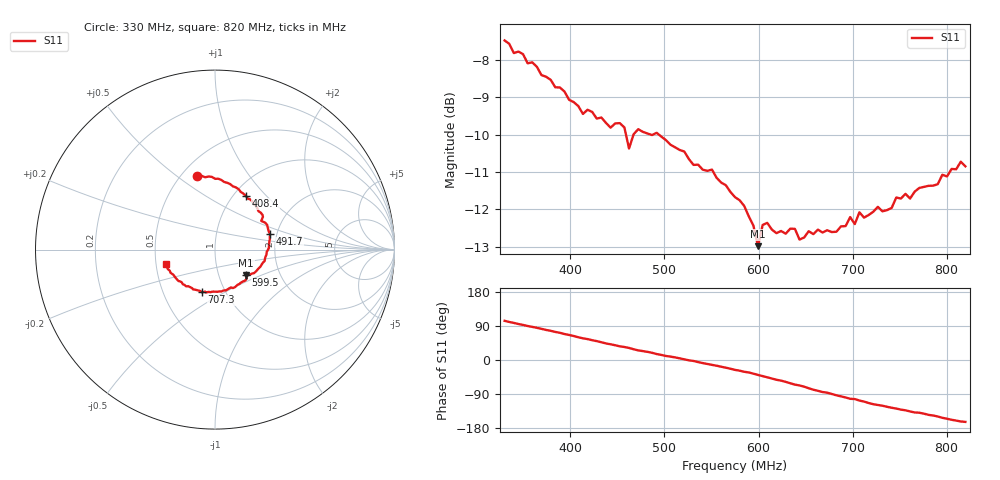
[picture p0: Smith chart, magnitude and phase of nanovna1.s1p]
# Hz S RI R 50
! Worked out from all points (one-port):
!   101 points, 330 MHz to 820 MHz, reference 50 ohm
!   lowest |S11| = -13.0 dB at 599.5 MHz (marker M1), VSWR 1.58, Z = 67.5 - j20.2 ohm
!   |S11| at or under -10 dB: 459.1 MHz to 467 MHz (7.912 MHz wide, 1.71 % of centre); 485.9012 MHz to 487.4266 MHz (1.525 MHz wide, 0.313 % of centre); 494.2 MHz to end of sweep
!   S11 on the Smith chart (normalised r, x): 330 MHz: 0.60, +0.60; 408.4 MHz: 1.14, +0.77; 491.7 MHz: 1.84, +0.35; 599.5 MHz: 1.35, -0.40; 707.3 MHz: 0.78, -0.39; 820 MHz: 0.56, -0.10
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3.3e8  -0.0981 0.4115
3.594e8  0.0178 0.395
3.937e8  0.1323 0.3361
4.084e8  0.1729 0.299
4.427e8  0.2422 0.2141
4.525e8  0.265 0.193
4.574e8  0.2672 0.1822
4.623e8  0.2576 0.1598
4.721e8  0.2906 0.138
4.917e8  0.3063 0.0861
5.162e8  0.3009 0.0232
5.505e8  0.2769 -0.0631
5.75e8  0.2344 -0.1146
5.848e8  0.2175 -0.131
5.995e8  0.1732 -0.1425
6.044e8  0.1764 -0.1619
6.387e8  0.1003 -0.2143
6.436e8  0.0887 -0.211
6.632e8  0.0356 -0.2333
6.828e8  -0.0129 -0.2341
6.975e8  -0.0528 -0.2396
7.024e8  -0.0545 -0.2338
7.073e8  -0.0729 -0.2381
7.612e8  -0.186 -0.1813
7.71e8  -0.2029 -0.1757
7.906e8  -0.2327 -0.1398
8.053e8  -0.2633 -0.1079
8.2e8  -0.2748 -0.0824
